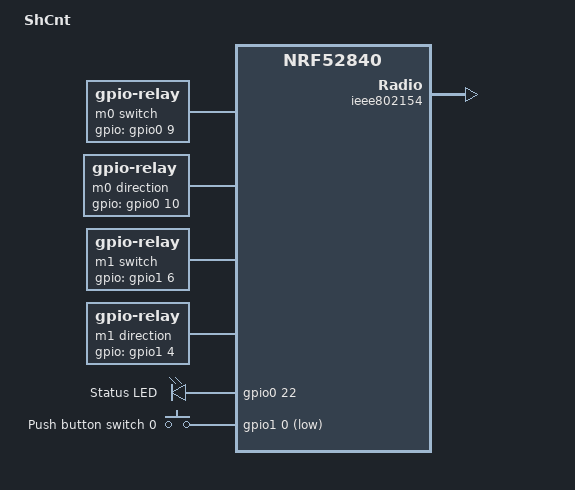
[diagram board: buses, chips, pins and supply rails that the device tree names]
/*
 * Copyright (c) 2021 Hubert Miś
 *
 * SPDX-License-Identifier: Apache-2.0
 */

/dts-v1/;
#include <nordic/nrf52840_qiaa.dtsi>

/ {
	model = "ShCnt";
	compatible = "hubertmis,shcnt";

	chosen {
		zephyr,sram = &sram0;
		zephyr,flash = &flash0;
		zephyr,code-partition = &slot0_partition;
		zephyr,ieee802154 = &ieee802154;
	};

	m0_sw: relay0 {
		compatible = "gpio-relay";
		gpios = <&gpio0 9 GPIO_ACTIVE_HIGH>;
		label = "m0 switch";
	};
	m0_dir: relay1 {
		compatible = "gpio-relay";
		gpios = <&gpio0 10 GPIO_ACTIVE_HIGH>;
		label = "m0 direction";
	};
	m1_sw: relay2 {
		compatible = "gpio-relay";
		gpios = <&gpio1 6 GPIO_ACTIVE_HIGH>;
		label = "m1 switch";
	};
	m1_dir: relay3 {
		compatible = "gpio-relay";
		gpios = <&gpio1 4 GPIO_ACTIVE_HIGH>;
		label = "m1 direction";
	};

	m0: mot_cnt_0 {
		compatible = "hubertmis,mot-cnt";
		sw = <&m0_sw>;
		dir = <&m0_dir>;
	};
	m1: mot_cnt_1 {
		compatible = "hubertmis,mot-cnt";
		sw = <&m1_sw>;
		dir = <&m1_dir>;
	};

    leds {
        compatible = "gpio-leds";
        led_status: led_0 {
            gpios = <&gpio0 22 GPIO_ACTIVE_HIGH>;
            label = "Status LED";
        };
    };

    buttons {
        compatible = "gpio-keys";
        button0: button_0 {
            gpios = <&gpio1 0 (GPIO_PULL_UP | GPIO_ACTIVE_LOW)>;
            label = "Push button switch 0";
        };
    };

    /*
    * In some default configurations within the nRF Connect SDK,
    * e.g. on nRF52840, the chosen zephyr,entropy node is &cryptocell.
    * This devicetree overlay ensures that default is overridden wherever it
    * is set, as this application uses the RNG node for entropy exclusively.
    */
    chosen {
        zephyr,entropy = &rng;
    };
};

&gpiote {
	status = "okay";
};

&gpio0 {
	status = "okay";
};

&gpio1 {
	status = "okay";
};

&ieee802154 {
	status = "okay";
};

&uicr {
    nfct-pins-as-gpios;
};

&flash0 {

	partitions {
		compatible = "fixed-partitions";
		#address-cells = <1>;
		#size-cells = <1>;

		boot_partition: partition@0 {
			label = "mcuboot";
			reg = <0x000000000 0x0000C000>;
		};
		slot0_partition: partition@c000 {
			label = "image-0";
			reg = <0x0000C000 0x00079000>;
		};
		slot1_partition: partition@85000 {
			label = "image-1";
			reg = <0x00085000 0x00079000>;
		};
		storage_partition: partition@fe000 {
			label = "storage";
			reg = <0x000fe000 0x00002000>;
		};
	};
};
